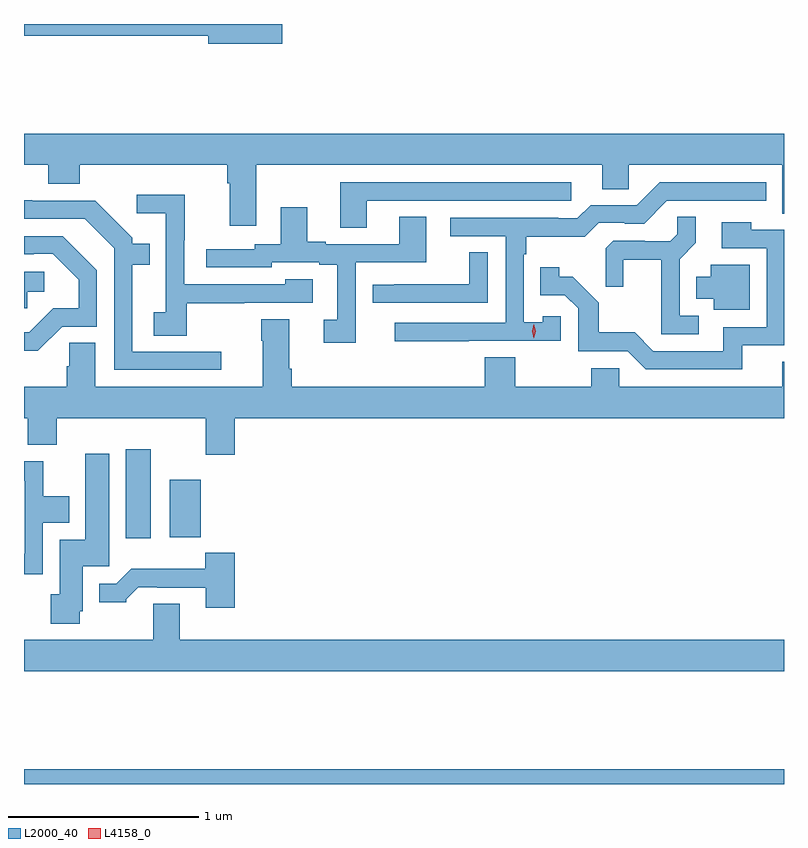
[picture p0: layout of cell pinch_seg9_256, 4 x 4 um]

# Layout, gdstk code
import gdstk
lib = gdstk.Library(unit=1e-6, precision=1e-09)
def R(c, l, rs):  # rectangles x0, y0, x1, y1
    for r in rs: c.add(gdstk.rectangle(r[:2], r[2:], *l))
def P(c, l, *ps):  # polygons
    for p in ps: c.add(gdstk.Polygon(p, *l))
L2000_40 = (2000, 40)
L4158_0 = (4158, 0)

pinch_seg9_256 = lib.new_cell('pinch_seg9_256')
R(pinch_seg9_256, L2000_40, [(483.387,1206.482,487.387,1206.56), (483.923,1207.776,484.054,1208.245)])
P(pinch_seg9_256, L2000_40, [(484.747,1210.482),(483.387,1210.482),(483.387,1210.42),(484.358,1210.42),(484.358,1210.378),(484.747,1210.378)],
  [(484.609,1209.74),(486.431,1209.74),(486.431,1209.613),(486.57,1209.613),(486.57,1209.74),(487.379,1209.74),(487.379,1209.484),(487.387,1209.484),(487.387,1209.904),(483.387,1209.904),(483.387,1209.74),(483.515,1209.74),(483.515,1209.641),(483.68,1209.641),(483.68,1209.74),(484.457,1209.74),(484.457,1209.644),(484.469,1209.644),(484.469,1209.42),(484.609,1209.42)],
  [(485.729,1208.814),(486.213,1208.814),(486.213,1208.943),(486.117,1208.943),(486.117,1208.911),(486.018,1208.911),(486.018,1209.269),(486.031,1209.269),(486.031,1209.362),(486.338,1209.362),(486.411,1209.435),(486.55,1209.435),(486.55,1209.432),(486.651,1209.432),(486.771,1209.552),(487.294,1209.552),(487.294,1209.648),(486.732,1209.648),(486.612,1209.528),(486.369,1209.528),(486.3,1209.459),(486.2,1209.459),(486.2,1209.462),(485.631,1209.462),(485.631,1209.366),(485.922,1209.366),(485.922,1208.91),(485.337,1208.91),(485.337,1208.812),(485.729,1208.812)],
  [(485.191,1209.552),(486.268,1209.552),(486.268,1209.648),(485.051,1209.648),(485.051,1209.409),(485.191,1209.409)],
  [(484.243,1209.013),(484.547,1209.013),(484.547,1209.015),(484.906,1209.015),(484.906,1209.139),(484.761,1209.139),(484.761,1209.111),(484.23,1209.111),(484.23,1209.344),(484.233,1209.344),(484.233,1209.583),(483.981,1209.583),(483.981,1209.485),(484.134,1209.485),(484.134,1208.964),(484.071,1208.964),(484.071,1208.842),(484.243,1208.842)],
  [(484.426,1208.757),(483.958,1208.757),(483.958,1209.216),(484.049,1209.216),(484.049,1209.325),(483.957,1209.325),(483.957,1209.357),(483.762,1209.552),(483.431,1209.552),(483.431,1209.554),(483.387,1209.554),(483.387,1209.456),(483.708,1209.456),(483.861,1209.303),(483.861,1208.661),(484.426,1208.661)],
  [(485.133,1209.228),(485.503,1209.228),(485.503,1209.467),(485.363,1209.467),(485.363,1209.324),(484.975,1209.324),(484.975,1209.337),(484.879,1209.337),(484.879,1209.517),(484.739,1209.517),(484.739,1209.324),(484.602,1209.324),(484.602,1209.297),(484.347,1209.297),(484.347,1209.201),(484.692,1209.201),(484.692,1209.228),(484.94,1209.228),(484.94,1209.216),(485.036,1209.216),(485.036,1208.925),(484.965,1208.925),(484.965,1208.805),(485.133,1208.805)],
  [(486.937,1208.946),(486.837,1208.946),(486.837,1209.245),(486.923,1209.331),(486.923,1209.467),(486.825,1209.467),(486.825,1209.376),(486.788,1209.339),(486.654,1209.339),(486.654,1209.342),(486.489,1209.342),(486.448,1209.301),(486.448,1209.099),(486.542,1209.099),(486.542,1209.242),(486.74,1209.242),(486.74,1208.85),(486.937,1208.85)],
  [(487.166,1208.79),(487.387,1208.79),(487.387,1209.399),(487.215,1209.399),(487.215,1209.439),(487.059,1209.439),(487.059,1209.303),(487.296,1209.303),(487.296,1208.886),(487.067,1208.886),(487.067,1208.76),(486.699,1208.76),(486.601,1208.859),(486.412,1208.859),(486.412,1209.014),(486.274,1209.152),(486.204,1209.152),(486.204,1209.202),(486.103,1209.202),(486.103,1209.054),(486.234,1209.054),(486.303,1208.985),(486.303,1208.76),(486.564,1208.76),(486.66,1208.664),(487.166,1208.664)],
  [(483.588,1208.889),(483.771,1208.889),(483.771,1209.187),(483.592,1209.366),(483.387,1209.366),(483.387,1209.27),(483.437,1209.27),(483.437,1209.273),(483.537,1209.273),(483.674,1209.136),(483.674,1208.986),(483.541,1208.986),(483.414,1208.859),(483.387,1208.859),(483.387,1208.762),(483.46,1208.762)],
  [(485.829,1209.281),(485.731,1209.281),(485.731,1209.111),(485.335,1209.111),(485.335,1209.11),(485.223,1209.11),(485.223,1209.015),(485.829,1209.015)],
  [(487.207,1209.214),(487.001,1209.214),(487.001,1209.151),(486.926,1209.151),(486.926,1209.035),(487.016,1209.035),(487.016,1208.978),(487.207,1208.978)],
  [(483.405,1209.074),(483.493,1209.074),(483.493,1209.177),(483.387,1209.177),(483.387,1208.985),(483.405,1208.985)],
  [(484.496,1208.408),(487.387,1208.408),(487.387,1208.705),(487.379,1208.705),(487.379,1208.572),(486.519,1208.572),(486.519,1208.67),(486.373,1208.67),(486.373,1208.572),(485.973,1208.572),(485.973,1208.729),(485.813,1208.729),(485.813,1208.572),(484.796,1208.572),(484.796,1208.668),(484.783,1208.668),(484.783,1208.929),(484.636,1208.929),(484.636,1208.816),(484.643,1208.816),(484.643,1208.572),(483.763,1208.572),(483.763,1208.804),(483.625,1208.804),(483.625,1208.682),(483.611,1208.682),(483.611,1208.572),(483.387,1208.572),(483.387,1208.408),(483.407,1208.408),(483.407,1208.267),(483.56,1208.267),(483.56,1208.408),(484.343,1208.408),(484.343,1208.214),(484.496,1208.214)],
  [(483.681,1207.392),(483.697,1207.392),(483.697,1207.629),(483.835,1207.629),(483.835,1208.221),(483.71,1208.221),(483.71,1207.768),(483.575,1207.768),(483.575,1207.482),(483.529,1207.482),(483.529,1207.326),(483.681,1207.326)],
  [(483.486,1207.856),(483.625,1207.856),(483.625,1207.996),(483.489,1207.996),(483.489,1208.182),(483.387,1208.182),(483.387,1208.078),(483.39,1208.078),(483.39,1207.695),(483.387,1207.695),(483.387,1207.587),(483.486,1207.587)],
  [(484.316,1207.929),(484.318,1207.929),(484.318,1208.083),(484.154,1208.083),(484.154,1207.781),(484.316,1207.781)],
  [(484.496,1207.699),(484.341,1207.699),(484.341,1207.615),(483.952,1207.615),(483.873,1207.536),(483.782,1207.536),(483.782,1207.439),(483.924,1207.439),(483.924,1207.454),(483.988,1207.518),(484.087,1207.518),(484.087,1207.515),(484.343,1207.515),(484.343,1207.41),(484.496,1207.41)],
  [(487.387,1207.24),(484.207,1207.24),(484.207,1207.43),(484.067,1207.43),(484.067,1207.24),(483.387,1207.24),(483.387,1207.076),(487.387,1207.076)])
P(pinch_seg9_256, L4158_0, [(486.07,1208.829),(486.07,1208.829),(486.061,1208.865),(486.071,1208.901),(486.071,1208.901),(486.071,1208.901),(486.081,1208.865),(486.071,1208.829)])

lib.write_gds('pinch_seg9_256.gds')
